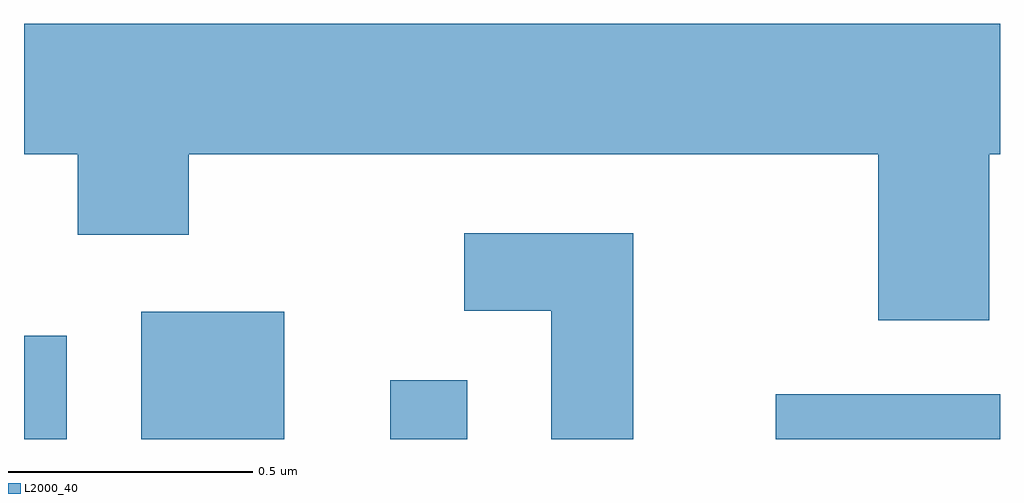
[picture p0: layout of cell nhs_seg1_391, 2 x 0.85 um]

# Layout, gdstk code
import gdstk
lib = gdstk.Library(unit=1e-6, precision=1e-09)
def R(c, l, rs):  # rectangles x0, y0, x1, y1
    for r in rs: c.add(gdstk.rectangle(r[:2], r[2:], *l))
def P(c, l, *ps):  # polygons
    for p in ps: c.add(gdstk.Polygon(p, *l))
L2000_40 = (2000, 40)

nhs_seg1_391 = lib.new_cell('nhs_seg1_391')
R(nhs_seg1_391, L2000_40, [(187.611,956.712,187.699,956.924), (187.851,956.712,188.144,956.974), (188.361,956.712,188.519,956.833), (189.151,956.712,189.611,956.804)])
P(nhs_seg1_391, L2000_40, [(189.589,957.296),(189.611,957.296),(189.611,957.564),(187.611,957.564),(187.611,957.296),(187.721,957.296),(187.721,957.131),(187.949,957.131),(187.949,957.296),(189.361,957.296),(189.361,956.956),(189.589,956.956)],
  [(188.859,957.134),(188.513,957.134),(188.513,956.976),(188.691,956.976),(188.691,956.712),(188.859,956.712)])

lib.write_gds('nhs_seg1_391.gds')
